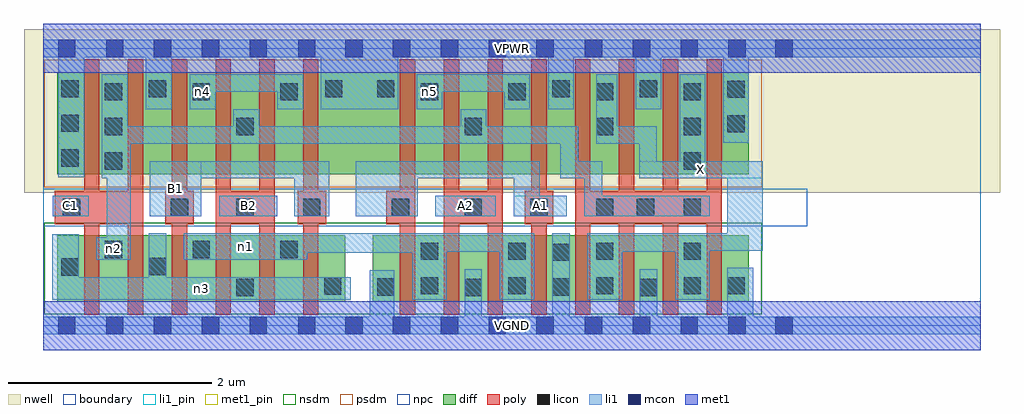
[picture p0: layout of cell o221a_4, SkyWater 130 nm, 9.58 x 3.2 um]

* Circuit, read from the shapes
.subckt o221a_4 A1 A2 B1 B2 C1 VGND VPWR X n1 n2 n3 n4 n5
XM1 n2 C1 n3 VSUBS sky130_fd_pr__nfet_01v8 w=0.65 l=0.15 m=2
XM2 n1 B1 n3 VSUBS sky130_fd_pr__nfet_01v8 w=0.65 l=0.15 m=2
XM3 n3 B2 n1 VSUBS sky130_fd_pr__nfet_01v8 w=0.65 l=0.15 m=2
XM4 n1 A1 VGND VSUBS sky130_fd_pr__nfet_01v8 w=0.65 l=0.15 m=2
XM5 VGND A2 n1 VSUBS sky130_fd_pr__nfet_01v8 w=0.65 l=0.15 m=2
XM6 X n2 VGND VSUBS sky130_fd_pr__nfet_01v8 w=0.65 l=0.15 m=4
XM7 n2 C1 VPWR n6 sky130_fd_pr__pfet_01v8 w=1 l=0.15 m=2
XM8 n4 B1 VPWR n6 sky130_fd_pr__pfet_01v8 w=1 l=0.15 m=2
XM9 n2 B2 n4 n6 sky130_fd_pr__pfet_01v8 w=1 l=0.15 m=2
XM10 n5 A1 VPWR n6 sky130_fd_pr__pfet_01v8 w=1 l=0.15 m=2
XM11 n2 A2 n5 n6 sky130_fd_pr__pfet_01v8 w=1 l=0.15 m=2
XM12 X n2 VPWR n6 sky130_fd_pr__pfet_01v8 w=1 l=0.15 m=4
.ends

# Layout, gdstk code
import gdstk
lib = gdstk.Library(unit=1e-6, precision=1e-09)
def R(c, l, rs):  # rectangles x0, y0, x1, y1
    for r in rs: c.add(gdstk.rectangle(r[:2], r[2:], *l))
def A(c, l, x, y, w, h, nx, ny, dx, dy):  # array of equal rectangles
    R(c, l, [(x+i*dx, y+j*dy, x+i*dx+w, y+j*dy+h) for i in range(nx) for j in range(ny)])
nwell = (64, 20)
diff = (65, 20)
poly = (66, 20)
licon = (66, 44)
li1_pin = (67, 16)
li1 = (67, 20)
mcon = (67, 44)
met1_pin = (68, 16)
met1 = (68, 20)
nsdm = (93, 44)
psdm = (94, 20)
npc = (95, 20)
boundary = (235, 4)

o221a_4 = lib.new_cell('o221a_4')
R(o221a_4, nwell, [(-0.19,1.305,9.39,2.91), (0,1.305,9.2,2.91)])
R(o221a_4, diff, [(0.135,0.235,2.965,0.885), (3.235,0.235,6.925,0.885), (0.135,1.485,6.925,2.485)])
A(o221a_4, poly, 0.4, 0.105, 0.15, 2.51, 6, 1, 0.43, 0)
A(o221a_4, poly, 3.5, 0.105, 0.15, 2.51, 8, 1, 0.43, 0)
R(o221a_4, poly, [(0.11,0.995,0.98,1.325), (1.195,0.995,1.475,1.325), (1.69,0.995,2.27,1.325), (2.495,0.995,2.775,1.325), (3.365,0.995,3.65,1.325), (3.93,0.995,4.51,1.325), (4.725,0.995,5.005,1.325), (5.22,0.995,6.66,1.325)])
A(o221a_4, licon, 3.705, 0.305, 0.17, 0.17, 4, 2, 0.86, 0.34)
A(o221a_4, licon, 0.605, 0.66, 0.17, 0.17, 3, 2, 0.86, 1.55)
A(o221a_4, licon, 4.135, 1.075, 0.17, 0.17, 3, 1, 0.645, 0)
A(o221a_4, licon, 0.175, 1.56, 0.17, 0.17, 1, 3, 0, 0.34)
A(o221a_4, licon, 3.705, 2.21, 0.17, 0.17, 4, 1, 0.86, 0)
R(o221a_4, licon, [(1.895,0.29,2.065,0.46), (4.135,0.29,4.305,0.46), (5.855,0.29,6.025,0.46), (3.275,0.295,3.445,0.465), (4.995,0.295,5.165,0.465), (2.755,0.3,2.925,0.47), (6.715,0.305,6.885,0.475), (0.175,0.49,0.345,0.66), (1.035,0.495,1.205,0.665), (4.995,0.635,5.165,0.805), (0.19,1.075,0.36,1.245), (1.25,1.075,1.42,1.245), (1.895,1.075,2.065,1.245), (2.55,1.075,2.72,1.245), (3.42,1.075,3.59,1.245), (5.825,1.075,5.995,1.245), (6.285,1.075,6.455,1.245), (0.605,1.53,0.775,1.7), (6.285,1.53,6.455,1.7), (0.605,1.87,0.775,2.04), (1.895,1.87,2.065,2.04), (4.135,1.87,4.305,2.04), (5.425,1.87,5.595,2.04), (6.285,1.87,6.455,2.04), (6.715,1.895,6.885,2.065), (6.715,2.235,6.885,2.405), (1.035,2.24,1.205,2.41), (2.765,2.24,2.935,2.41), (3.275,2.24,3.445,2.41), (4.995,2.24,5.165,2.41), (5.855,2.24,6.025,2.41)])
R(o221a_4, li1_pin, [(0.09,1.075,0.445,1.275), (1.045,1.075,1.55,1.615), (1.725,1.075,2.295,1.275), (3.845,1.075,4.44,1.275), (4.615,1.075,5.135,1.275), (5.85,1.445,7.06,1.615)])
A(o221a_4, li1, 3.62, 0.255, 0.34, 0.65, 4, 1, 0.86, 0)
R(o221a_4, li1, [(0,-0.085,9.2,0.085), (3.205,-0.085,3.445,0.545), (4.135,-0.085,4.305,0.555), (4.995,-0.085,5.165,0.905), (5.855,-0.085,6.025,0.555), (6.715,-0.085,6.97,0.565), (0.085,0.255,3.015,0.475), (0.085,0.255,0.345,0.895), (1.035,0.255,1.205,0.905), (0.52,0.645,0.86,0.865), (0.62,0.645,0.86,1.955), (1.38,0.645,2.59,0.905), (1.38,0.715,3.96,0.905), (1.38,0.725,4.82,0.905), (5.34,0.725,6.54,0.905), (5.34,0.735,7.06,0.905), (6.715,0.735,7.06,1.615), (0.09,1.075,0.445,1.275), (1.045,1.075,1.55,1.615), (1.725,1.075,2.295,1.275), (2.465,1.075,2.805,1.615), (3.065,1.075,3.675,1.615), (3.845,1.075,4.44,1.275), (4.615,1.075,5.135,1.275), (4.615,1.075,4.87,1.615), (5.31,1.075,6.54,1.275), (5.31,1.075,5.485,1.615), (0.575,1.445,0.83,2.465), (1.045,1.445,2.805,1.615), (3.065,1.445,4.87,1.615), (5.075,1.445,5.485,1.615), (5.075,1.445,5.25,1.955), (5.85,1.445,7.06,1.615), (5.85,1.445,6.02,1.955), (6.245,1.445,6.495,2.465), (0.145,1.455,0.4,2.805), (0.575,1.785,5.25,1.955), (1.865,1.785,2.12,2.125), (4.095,1.785,4.345,2.125), (5.425,1.785,5.635,2.465), (5.425,1.785,6.02,1.955), (6.675,1.795,6.925,2.805), (1.005,2.125,1.26,2.805), (1.435,2.125,1.69,2.465), (2.295,2.125,2.55,2.465), (2.725,2.125,3.485,2.805), (3.665,2.125,3.915,2.465), (4.525,2.125,4.775,2.465), (4.955,2.125,5.205,2.805), (5.815,2.125,6.065,2.805), (1.435,2.295,2.55,2.465), (3.665,2.295,4.775,2.465), (0,2.635,9.2,2.805)])
A(o221a_4, mcon, 0.145, -0.085, 0.17, 0.17, 5, 2, 0.47, 2.72)
A(o221a_4, mcon, 2.5, -0.085, 0.17, 0.17, 3, 2, 0.465, 2.72)
A(o221a_4, mcon, 3.9, -0.085, 0.17, 0.17, 3, 2, 0.47, 2.72)
A(o221a_4, mcon, 5.315, -0.085, 0.17, 0.17, 4, 2, 0.47, 2.72)
R(o221a_4, mcon, [(7.185,-0.085,7.355,0.085), (7.185,2.635,7.355,2.805)])
R(o221a_4, met1_pin, [(0,-0.24,9.2,0.24), (0,2.48,9.2,2.96)])
R(o221a_4, met1, [(0,-0.24,9.2,0.24), (0,2.48,9.2,2.96)])
R(o221a_4, nsdm, [(0.01,0.11,7.05,1.01)])
R(o221a_4, psdm, [(0.01,1.36,7.05,2.61)])
R(o221a_4, npc, [(0,0.975,7.5,1.345)])
R(o221a_4, boundary, [(0,0,9.2,2.72)])
o221a_4.add(gdstk.Label('A1', (4.875,1.175), layer=67, texttype=5))
o221a_4.add(gdstk.Label('A2', (4.142,1.175), layer=67, texttype=5))
o221a_4.add(gdstk.Label('B1', (1.297,1.345), layer=67, texttype=5))
o221a_4.add(gdstk.Label('B2', (2.01,1.175), layer=67, texttype=5))
o221a_4.add(gdstk.Label('C1', (0.267,1.175), layer=67, texttype=5))
o221a_4.add(gdstk.Label('X', (6.455,1.53), layer=67, texttype=5))
o221a_4.add(gdstk.Label('n3', (1.55,0.365), layer=67, texttype=5))
o221a_4.add(gdstk.Label('n1', (1.985,0.775), layer=67, texttype=5))
o221a_4.add(gdstk.Label('n2', (0.69,0.755), layer=67, texttype=5))
o221a_4.add(gdstk.Label('n4', (1.562,2.295), layer=67, texttype=5))
o221a_4.add(gdstk.Label('n5', (3.79,2.295), layer=67, texttype=5))
o221a_4.add(gdstk.Label('VPWR', (4.6,2.72), layer=68, texttype=5))
o221a_4.add(gdstk.Label('VGND', (4.6,0), layer=68, texttype=5))
o221a_4.add(gdstk.Label('A1', (4.875,1.175), layer=67, texttype=16))
o221a_4.add(gdstk.Label('A2', (4.142,1.175), layer=67, texttype=16))
o221a_4.add(gdstk.Label('B1', (1.297,1.345), layer=67, texttype=16))
o221a_4.add(gdstk.Label('B2', (2.01,1.175), layer=67, texttype=16))
o221a_4.add(gdstk.Label('C1', (0.267,1.175), layer=67, texttype=16))
o221a_4.add(gdstk.Label('X', (6.455,1.53), layer=67, texttype=16))
o221a_4.add(gdstk.Label('VPWR', (4.6,2.72), layer=68, texttype=16))
o221a_4.add(gdstk.Label('VGND', (4.6,0), layer=68, texttype=16))

lib.write_gds('o221a_4.gds')
